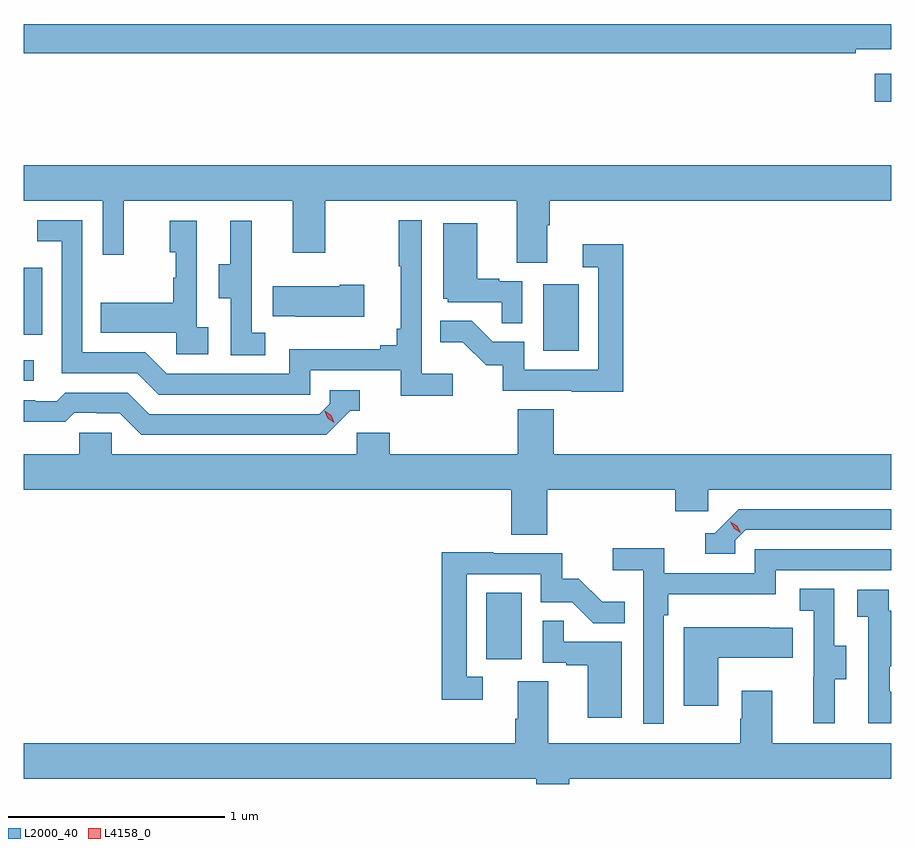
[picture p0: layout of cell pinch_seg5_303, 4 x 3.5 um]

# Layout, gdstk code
import gdstk
lib = gdstk.Library(unit=1e-6, precision=1e-09)
def R(c, l, rs):  # rectangles x0, y0, x1, y1
    for r in rs: c.add(gdstk.rectangle(r[:2], r[2:], *l))
def P(c, l, *ps):  # polygons
    for p in ps: c.add(gdstk.Polygon(p, *l))
L2000_40 = (2000, 40)
L4158_0 = (4158, 0)

pinch_seg5_303 = lib.new_cell('pinch_seg5_303')
R(pinch_seg5_303, L2000_40, [(890.372,873.294,890.536,873.601), (888.24,874.578,888.286,874.674), (890.636,874.716,890.8,875.023), (888.24,874.791,888.324,875.1), (892.164,875.866,892.24,875.995)])
P(pinch_seg5_303, L2000_40, [(892.076,876.108),(892.24,876.108),(892.24,876.224),(888.24,876.224),(888.24,876.088),(892.076,876.088)],
  [(890.653,875.296),(890.666,875.296),(890.666,875.408),(892.24,875.408),(892.24,875.572),(888.24,875.572),(888.24,875.408),(888.603,875.408),(888.603,875.16),(888.701,875.16),(888.701,875.408),(889.481,875.408),(889.481,875.169),(889.629,875.169),(889.629,875.408),(890.513,875.408),(890.513,875.122),(890.653,875.122)],
  [(890.218,874.612),(890.076,874.612),(890.076,875.32),(889.968,875.32),(889.968,875.107),(889.979,875.107),(889.979,874.819),(889.96,874.819),(889.96,874.742),(889.883,874.742),(889.883,874.723),(889.464,874.723),(889.464,874.611),(888.9,874.611),(888.801,874.71),(888.51,874.71),(888.51,875.319),(888.301,875.319),(888.301,875.223),(888.414,875.223),(888.414,874.614),(888.764,874.614),(888.863,874.515),(889.56,874.515),(889.56,874.626),(889.979,874.626),(889.979,874.51),(890.218,874.51)],
  [(889.09,874.826),(889.038,874.826),(889.038,875.317),(888.914,875.317),(888.914,875.172),(888.94,875.172),(888.94,875.054),(888.93,875.054),(888.93,874.939),(888.595,874.939),(888.595,874.799),(888.942,874.799),(888.942,874.701),(889.09,874.701)],
  [(889.354,874.799),(889.29,874.799),(889.29,875.103),(889.292,875.103),(889.292,875.317),(889.193,875.317),(889.193,875.115),(889.139,875.115),(889.139,874.96),(889.194,874.96),(889.194,874.696),(889.354,874.696)],
  [(890.538,875.037),(890.432,875.037),(890.432,875.05),(890.332,875.05),(890.332,875.305),(890.174,875.305),(890.174,874.956),(890.196,874.956),(890.196,874.941),(890.443,874.941),(890.443,874.843),(890.538,874.843)],
  [(891.005,875.209),(890.817,875.209),(890.817,875.103),(890.889,875.103),(890.889,874.629),(890.547,874.629),(890.547,874.758),(890.403,874.758),(890.305,874.856),(890.161,874.856),(890.161,874.757),(890.265,874.757),(890.372,874.65),(890.449,874.65),(890.449,874.533),(890.767,874.533),(890.767,874.528),(891.005,874.528)],
  [(889.81,875.022),(889.697,875.022),(889.697,875.014),(889.387,875.014),(889.387,874.877),(889.495,874.877),(889.495,874.874),(889.81,874.874)],
  [(889.746,874.44),(889.789,874.44),(889.789,874.536),(889.65,874.536),(889.65,874.473),(889.602,874.425),(888.819,874.425),(888.72,874.524),(888.431,874.524),(888.392,874.485),(888.293,874.485),(888.293,874.488),(888.24,874.488),(888.24,874.389),(888.431,874.389),(888.473,874.431),(888.576,874.431),(888.576,874.428),(888.683,874.428),(888.782,874.329),(889.635,874.329)],
  [(890.654,874.076),(891.245,874.076),(891.245,873.978),(891.396,873.978),(891.396,874.076),(892.24,874.076),(892.24,874.24),(890.684,874.24),(890.684,874.448),(890.519,874.448),(890.519,874.24),(889.928,874.24),(889.928,874.338),(889.776,874.338),(889.776,874.24),(888.645,874.24),(888.645,874.338),(888.495,874.338),(888.495,874.24),(888.24,874.24),(888.24,874.076),(890.489,874.076),(890.489,873.868),(890.654,873.868)],
  [(891.522,873.843),(891.57,873.891),(892.24,873.891),(892.24,873.987),(891.537,873.987),(891.426,873.876),(891.383,873.876),(891.383,873.78),(891.522,873.78)],
  [(891.192,873.497),(891.212,873.497),(891.212,873.593),(891.708,873.593),(891.708,873.705),(892.24,873.705),(892.24,873.801),(891.612,873.801),(891.612,873.69),(891.194,873.69),(891.194,873.806),(890.955,873.806),(890.955,873.704),(891.096,873.704),(891.096,872.997),(891.192,872.997)],
  [(890.356,873.213),(890.283,873.213),(890.283,873.687),(890.625,873.687),(890.625,873.558),(890.769,873.558),(890.867,873.46),(891.011,873.46),(891.011,873.559),(890.907,873.559),(890.8,873.666),(890.724,873.666),(890.724,873.783),(890.405,873.783),(890.405,873.788),(890.167,873.788),(890.167,873.108),(890.356,873.108)],
  [(891.979,873.202),(892.033,873.202),(892.033,873.357),(891.978,873.357),(891.978,873.62),(891.819,873.62),(891.819,873.517),(891.882,873.517),(891.882,873.213),(891.881,873.213),(891.881,873),(891.979,873)],
  [(892.24,873.144),(892.233,873.144),(892.233,873.263),(892.24,873.263),(892.24,873.517),(892.23,873.517),(892.23,873.615),(892.083,873.615),(892.083,873.491),(892.134,873.491),(892.134,873),(892.24,873)],
  [(890.998,873.375),(890.729,873.375),(890.729,873.473),(890.634,873.473),(890.634,873.279),(890.741,873.279),(890.741,873.267),(890.84,873.267),(890.84,873.024),(890.998,873.024)],
  [(891.442,873.302),(891.785,873.302),(891.785,873.439),(891.677,873.439),(891.677,873.442),(891.284,873.442),(891.284,873.081),(891.442,873.081)],
  [(890.756,872.744),(892.24,872.744),(892.24,872.908),(891.691,872.908),(891.691,873.148),(891.551,873.148),(891.551,873.02),(891.544,873.02),(891.544,872.908),(890.659,872.908),(890.659,873.194),(890.519,873.194),(890.519,873.02),(890.507,873.02),(890.507,872.908),(888.24,872.908),(888.24,872.744),(890.603,872.744),(890.603,872.719),(890.756,872.719)])
P(pinch_seg5_303, L4158_0, [(889.672,874.386),(889.642,874.406),(889.627,874.439),(889.627,874.44),(889.627,874.44),(889.657,874.419),(889.672,874.386),(889.672,874.386)],
  [(891.547,873.878),(891.516,873.897),(891.499,873.929),(891.499,873.929),(891.499,873.929),(891.53,873.91),(891.547,873.878),(891.547,873.878)])

lib.write_gds('pinch_seg5_303.gds')
